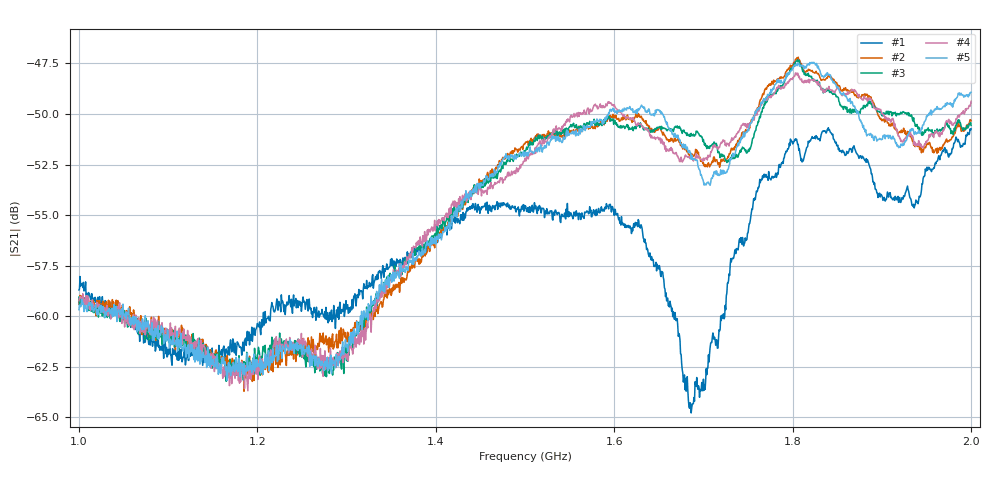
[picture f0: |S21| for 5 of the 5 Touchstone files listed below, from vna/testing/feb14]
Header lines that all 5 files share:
!Keysight Technologies N9923A: A.08.15
!Timezone: (GMT-05:00) Eastern Time (US & Canada)
!Model: N9923A
!Serial: MY52412730
!GPS Latitude:
!GPS Longitude:
!GPS TimeStamp: 0001-01-01 00:00:00Z
!GPS Seconds Since Last Read: 0
!Correction: S11(ON Q)S21(ON Q)S12(ON Q)S22(ON Q)
!S2P File: Measurements:S11,S21,S12,S22:
# Hz S DB R 50
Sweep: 1 GHz to 2 GHz
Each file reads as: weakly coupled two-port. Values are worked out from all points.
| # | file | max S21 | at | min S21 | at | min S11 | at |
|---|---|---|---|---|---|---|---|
| 1 | test1.s2p | -50.68 dB | 1.84 GHz | -64.8 dB | 1.686 GHz | -31.3 dB | 1.814 GHz |
| 2 | test2.s2p | -47.20 dB | 1.806 GHz | -63.7 dB | 1.185 GHz | -27.0 dB | 1.817 GHz |
| 3 | test3.s2p | -47.31 dB | 1.806 GHz | -63.2 dB | 1.165 GHz | -26.6 dB | 1.817 GHz |
| 4 | test4.s2p | -47.97 dB | 1.804 GHz | -63.7 dB | 1.189 GHz | -26.4 dB | 1.817 GHz |
| 5 | test5.s2p | -47.45 dB | 1.824 GHz | -63.2 dB | 1.166 GHz | -26.1 dB | 1.817 GHz |
